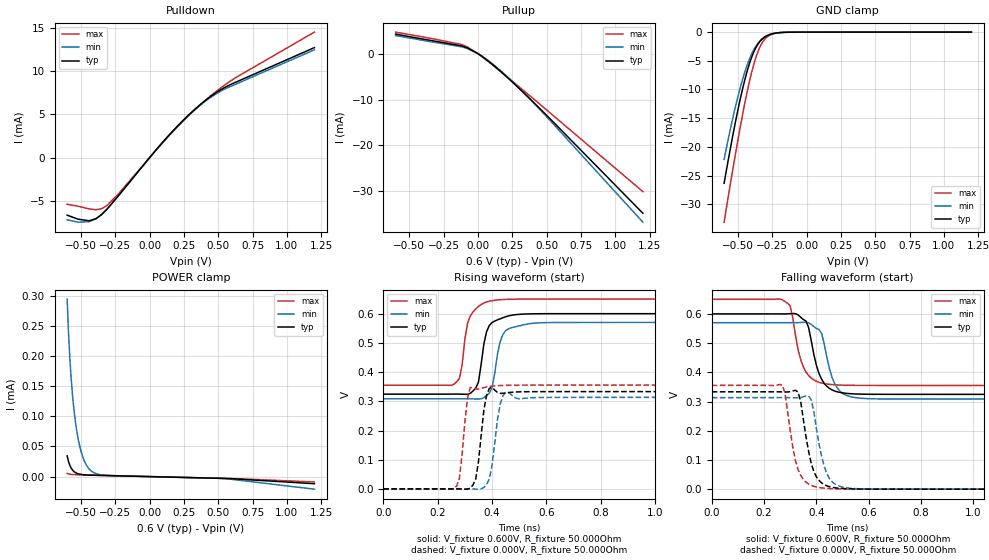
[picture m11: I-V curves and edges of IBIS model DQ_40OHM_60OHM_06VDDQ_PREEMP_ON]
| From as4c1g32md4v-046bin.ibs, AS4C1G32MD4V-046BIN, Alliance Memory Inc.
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|   MODEL: DQ_40OHM_60OHM_06VDDQ_PREEMP_ON
[Model]   DQ_40OHM_60OHM_06VDDQ_PREEMP_ON
Model_type   I/O
Polarity   Non-Inverting
Enable   Active-High
Vinl   = 0.080V
Vinh   = 0.220V
Vmeas   = 0.150V
Vref   = 0.150V
Cref   = 0.000pF
Rref   = 50.000Ohm
|   typ   min   max
C_comp   0.875pF   0.788pF   0.963pF
[Voltage Range]   0.600V   0.570V   0.650V
[Temperature Range]   25.0   95.0   -40.0
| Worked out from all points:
|   slope of the pulldown table from 0 to 0.09 V, typ, clamps not added: 53.4 ohm
|   slope of the pullup table from 0 to 0.09 V, typ, clamps not added: 44.8 ohm
|   GND clamp passes 1 mA (typ) near -0.31 V on its own axis
|   rising waveform, V_fixture 0.600V, R_fixture 50.000Ohm: 20-80 % time 30.7ps typ, 32.4ps min, 31.9ps max; typ from 0.325 V to 0.6 V
|   falling waveform, V_fixture 0.600V, R_fixture 50.000Ohm: 20-80 % time 46.2ps typ, 46ps min, 44.3ps max; typ from 0.6 V to 0.325 V
|   rising waveform, V_fixture 0.000V, R_fixture 50.000Ohm: 20-80 % time 24ps typ, 26.3ps min, 22.5ps max; typ from 0 V to 0.333 V
|   falling waveform, V_fixture 0.000V, R_fixture 50.000Ohm: 20-80 % time 42.5ps typ, 43.2ps min, 41.9ps max; typ from 0.333 V to 0 V
[Pulldown]
|   Voltage   I(typ)   I(min)   I(max)
-600mV    -6.622mA   -7.161mA   -5.37mA
-520mV    -7.091mA   -7.435mA   -5.601mA
-440mV    -7.271mA   -7.376mA   -5.905mA
-390mV    -7.03mA    -7.035mA   -6.003mA
-350mV    -6.576mA   -6.556mA   -5.886mA
-310mV    -5.94mA    -5.927mA   -5.511mA
-230mV    -4.449mA   -4.449mA   -4.23mA
130mV     2.399mA    2.387mA    2.329mA
270mV     4.704mA    4.669mA    4.626mA
400mV     6.524mA    6.445mA    6.534mA
580mV     8.367mA    8.152mA    8.746mA
1.2V      12.7mA     12.44mA    14.49mA
[Pullup]
|   Voltage   I(typ)   I(min)   I(max)
-600mV    4.267mA    3.904mA    4.699mA
-120mV    1.7mA      1.495mA    2.011mA
-80mV     1.289mA    1.134mA    1.496mA
0V        0A         0A         0A
80mV      -1.767mA   -1.632mA   -1.852mA
220mV     -5.374mA   -5.228mA   -5.255mA
410mV     -10.79mA   -10.91mA   -10.01mA
1.2V      -34.79mA   -36.73mA   -30.07mA
[GND Clamp]
|   Voltage   I(typ)   I(min)   I(max)
-600mV    -26.36mA   -22.19mA   -33.14mA
-550mV    -19.73mA   -16.43mA   -25.84mA
-510mV    -14.79mA   -12.27mA   -20.24mA
-470mV    -10.36mA   -8.615mA   -14.96mA
-430mV    -6.627mA   -5.609mA   -10.17mA
-390mV    -3.805mA   -3.349mA   -6.151mA
-360mV    -2.341mA   -2.151mA   -3.819mA
-320mV    -1.14mA    -1.122mA   -1.755mA
-280mV    -524.1uA   -555.5uA   -715.7uA
-230mV    -184.4uA   -215.6uA   -213.3uA
-140mV    -20.29uA   -29.99uA   -17.96uA
1.2V      6.836uA    7.386uA    6.714uA
[POWER Clamp]
|   Voltage   I(typ)   I(min)   I(max)
-600mV    34.27uA    294.1uA    5.169uA
-590mV    25uA       238.9uA    4.47uA
-570mV    13.84uA    160.6uA    3.674uA
-560mV    10.58uA    132.6uA    3.444uA
-540mV    6.655uA    91.24uA    3.146uA
-520mV    4.678uA    62.84uA    2.957uA
-490mV    3.339uA    35.2uA     2.748uA
-460mV    2.772uA    19.1uA     2.569uA
-420mV    2.39uA     8.47uA     2.342uA
-300mV    1.671uA    1.938uA    1.671uA
560mV     -3.13uA    -3.595uA   -3.086uA
1.2V      -11.8uA    -20.82uA   -8.926uA
[Ramp]
R_load = 50.000Ohm
|   typ   min   max
dV/dt_r   0.165V/30.000ps   0.157V/30.000ps   0.177V/30.000ps
dV/dt_f   0.165V/40.000ps   0.157V/50.000ps   0.177V/50.000ps
|Slew_r   5.509V/ns   5.232V/ns   5.900V/ns
|Slew_f   4.130V/ns   3.138V/ns   3.538V/ns
[Rising Waveform]
V_fixture = 0.600V
V_fixture_min = 0.570V
V_fixture_max = 0.650V
R_fixture = 50.000Ohm
L_fixture = 0.000nH
C_fixture = 0.000pF
|dV/dt_r   0.165V/30.000ps   0.157V/30.000ps   0.177V/30.000ps
|Slew_r   5.509V/ns   5.232V/ns   5.900V/ns
|   Time   V(typ)   V(min)   V(max)
0s        324.5mV    308.4mV    355mV
260ps     324.7mV    308.4mV    358.5mV
280ps     324.7mV    308.4mV    378.4mV
320ps     327.1mV    308.6mV    592.2mV
350ps     365.9mV    307.8mV    624.6mV
380ps     538.9mV    319.9mV    640.2mV
400ps     569.6mV    346.1mV    644.7mV
440ps     586.2mV    529mV      648.5mV
620ps     600mV      569.6mV    649.9mV
5ns       600mV      570mV      650mV
[Falling Waveform]
V_fixture = 0.600V
V_fixture_min = 0.570V
V_fixture_max = 0.650V
R_fixture = 50.000Ohm
L_fixture = 0.000nH
C_fixture = 0.000pF
|dV/dt_f   0.165V/40.000ps   0.157V/50.000ps   0.177V/50.000ps
|Slew_f   4.130V/ns   3.138V/ns   3.538V/ns
|   Time   V(typ)   V(min)   V(max)
0s        599.9mV    569.9mV    649.9mV
270ps     600mV      570mV      648.5mV
300ps     600.8mV    570mV      627.2mV
330ps     596.6mV    570.2mV    478.4mV
370ps     554.7mV    569.7mV    389.3mV
420ps     376.5mV    533.7mV    363.3mV
470ps     336mV      361.3mV    357.3mV
520ps     327.6mV    319.4mV    355.7mV
640ps     324.7mV    308.9mV    355.1mV
5ns       324.6mV    308.4mV    355mV
[Rising Waveform]
V_fixture = 0.000V
V_fixture_min = 0.000V
V_fixture_max = 0.000V
R_fixture = 50.000Ohm
L_fixture = 0.000nH
C_fixture = 0.000pF
|dV/dt_r   0.200V/20.000ps   0.188V/30.000ps   0.213V/20.000ps
|Slew_r   9.998V/ns   6.268V/ns   10.663V/ns
|   Time   V(typ)   V(min)   V(max)
0s        4.875uV    14.43uV    2.082uV
270ps     142.3uV    14.31uV    10.22mV
280ps     39.43uV    19.52uV    36.65mV
320ps     3.017mV    17.58uV    346.9mV
340ps     34.57mV    -659.2uV   341.9mV
380ps     321.3mV    15.65mV    349.2mV
400ps     347.3mV    81.72mV    352mV
430ps     327.2mV    291mV      353.9mV
450ps     328.5mV    330.6mV    354.6mV
5ns       333.3mV    313.4mV    355.4mV
[Falling Waveform]
V_fixture = 0.000V
V_fixture_min = 0.000V
V_fixture_max = 0.000V
R_fixture = 50.000Ohm
L_fixture = 0.000nH
C_fixture = 0.000pF
|dV/dt_f   0.200V/40.000ps   0.188V/40.000ps   0.213V/40.000ps
|Slew_f   4.998V/ns   4.700V/ns   5.331V/ns
|   Time   V(typ)   V(min)   V(max)
0s        333.2mV    313.4mV    355.4mV
270ps     333mV      313.5mV    355.7mV
280ps     332.7mV    313.5mV    328.5mV
330ps     332.2mV    312.9mV    67.64mV
380ps     89.83mV    306.7mV    13.21mV
420ps     21.4mV     113.4mV    4.449mV
440ps     11.34mV    53mV       2.68mV
490ps     2.945mV    9.716mV    873uV
600ps     216.6uV    673.4uV    33.16uV
5ns       5.414uV    14.95uV    2.639uV
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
